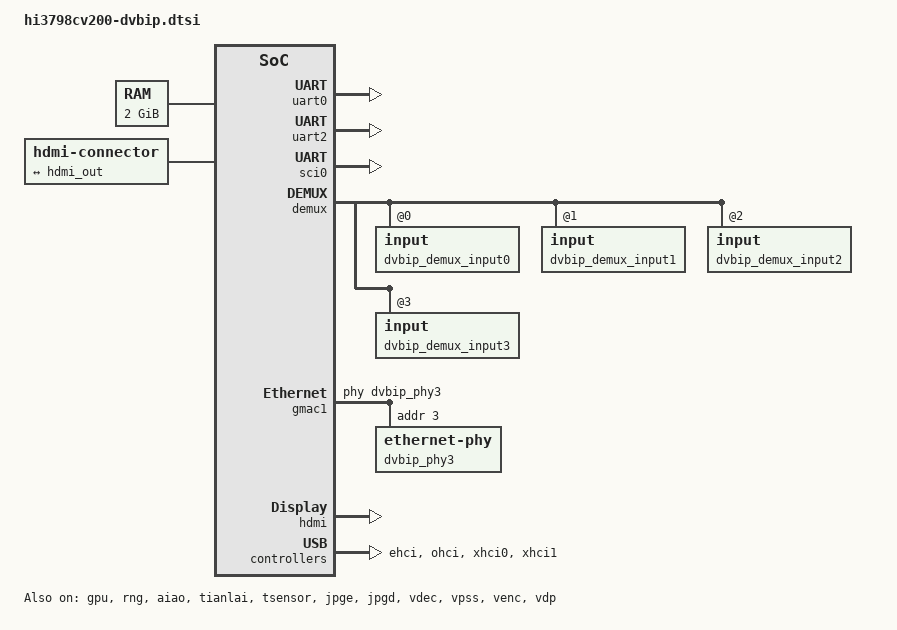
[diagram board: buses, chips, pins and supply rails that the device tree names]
// SPDX-License-Identifier: GPL-2.0-only
/*
 * Device Tree Source for HiSilicon Hi3798CV200 DVB-IP common platform.
 */

#include <dt-bindings/gpio/gpio.h>
#include <dt-bindings/pinctrl/hisi.h>
#include <dt-bindings/thermal/thermal.h>
#include "hi3798cv200.dtsi"

/* value, enable bits, disable bits, mask */
#define PINCTRL_PULLDOWN(value, enable, disable, mask) \
	(value << 13) (enable << 13) (disable << 13) (mask << 13)
#define PINCTRL_PULLUP(value, enable, disable, mask) \
	(value << 12) (enable << 12) (disable << 12) (mask << 12)
#define PINCTRL_SLEW_RATE(value, mask)	  (value << 8) (mask << 8)
#define PINCTRL_DRV_STRENGTH(value, mask) (value << 4) (mask << 4)

/ {
	/* CPU lifecycle is supplied by the resident CVPM EL3 monitor. */
	psci {
		compatible = "arm,psci-1.0", "arm,psci-0.2";
		method = "smc";
	};

	standby-controller {
		compatible = "hisilicon,hi3798cv200-pm";
		system-power-controller;
		/* Timed wake remains available without an invented IR key. */
		hisilicon,wakeup-timeout-sec = <30>;
	};

	aliases {
		mmc0 = &emmc;
		serial0 = &uart0;
		serial2 = &uart2;
	};

	memory@0 {
		device_type = "memory";
		reg = <0x0 0x0 0x0 0x80000000>;
	};


	hdmi-connector {
		compatible = "hdmi-connector";
		type = "a";

		port {
			hdmi_connector_in: endpoint {
				remote-endpoint = <&hdmi_out>;
			};
		};
	};

	reserved-memory {
		#address-cells = <2>;
		#size-cells = <2>;
		ranges;

		smp_firmware: smp-firmware@11000000 {
			reg = <0x0 0x11000000 0x0 0x00010000>;
			no-map;
		};

		linux_cma: linux,cma {
			compatible = "shared-dma-pool";
			reusable;
			/*
			 * Shared 192 MiB display/eMMC DMA pool in the SoC's low
			 * 1 GiB aperture. Decoder capture uses a separate CMA area
			 * so UHD frame queues cannot exhaust this pool.
			 */
			size = <0x0 0x0c000000>;
			alignment = <0x0 0x00800000>;
			alloc-ranges = <0x0 0x30000000 0x0 0x10000000>;
			linux,cma-default;
		};

		capture_cma: decoder-capture@12000000 {
			compatible = "shared-dma-pool";
			reg = <0x0 0x12000000 0x0 0x0a000000>;
			reusable;
		};

		/*
		 * Decoder reconstruction/message pool: non-reusable memory
		 * below the SoC's 1 GiB DMA limit. Keep it separate from the
		 * capture CMA area and shared display/eMMC allocations.
		 */
		vdec_pool: vdec-pool@20000000 {
			compatible = "shared-dma-pool";
			/* 240 MiB for reconstruction surfaces and decoder messages. */
			reg = <0x0 0x20000000 0x0 0x0f000000>;
			/* Avoid linear-map aliases for the dedicated DMA pool. */
			no-map;
		};
		/*
		 * Dedicated H.264 encoder DMA pool.  Keep V4L2 M2M capture
		 * buffers out of the shared display/eMMC CMA area: a 4K decoder
		 * plus a 1080i DEI/VENC session can leave free CMA pages without
		 * leaving a sufficiently large contiguous encoder buffer.
		 */
		venc_pool: venc-pool@3c000000 {
			compatible = "shared-dma-pool";
			reg = <0x0 0x3c000000 0x0 0x04000000>;
			no-map;
		};
	};

	/* Shared CV200 policy: IP1002 HPM targets, with the BSP OPP7 extension. */
	hi3798cv200_cpu_opp_table: opp-table-cpu {
		compatible = "operating-points-v2";
		opp-shared;

		opp-400000000 {
			opp-hz = /bits/ 64 <400000000>;
			opp-microvolt = <1000000 840000 1000000>;
			clock-latency-ns = <110000000>;
		};
		opp-600000000 {
			opp-hz = /bits/ 64 <600000000>;
			opp-microvolt = <1000000 840000 1000000>;
			clock-latency-ns = <110000000>;
		};
		opp-800000000 {
			opp-hz = /bits/ 64 <800000000>;
			/* Shared policy retains the BSP floor, not a board-specific undervolt. */
			opp-microvolt = <1000000 840000 1000000>;
			clock-latency-ns = <110000000>;
		};
		opp-1200000000 {
			opp-hz = /bits/ 64 <1200000000>;
			opp-microvolt = <1050000 900000 1050000>;
			clock-latency-ns = <110000000>;
		};
		opp-1600000000 {
			opp-hz = /bits/ 64 <1600000000>;
			opp-microvolt = <1150000 1020000 1150000>;
			clock-latency-ns = <110000000>;
		};
	};

	/*
	 * The CV200 BSP exposes the Mali-T720 at six discrete clock points.
	 * The default voltage is the conservative SS bin; the driver selects
	 * FF, TT, or SS properties from SYSCTRL SVB bits before registering OPPs.
	 * OPP transitions raise voltage before frequency and lower it afterward.
	 */
	hi3798cv200_gpu_opp_table: opp-table-gpu {
		compatible = "operating-points-v2";

		opp-200000000 {
			opp-hz = /bits/ 64 <200000000>;
			opp-microvolt = <900000>;
			opp-microvolt-ff = <850000>;
			opp-microvolt-tt = <880000>;
			opp-microvolt-ss = <900000>;
		};

		opp-300000000 {
			opp-hz = /bits/ 64 <300000000>;
			opp-microvolt = <900000>;
			opp-microvolt-ff = <850000>;
			opp-microvolt-tt = <880000>;
			opp-microvolt-ss = <900000>;
		};

		opp-400000000 {
			opp-hz = /bits/ 64 <400000000>;
			opp-microvolt = <900000>;
			opp-microvolt-ff = <850000>;
			opp-microvolt-tt = <880000>;
			opp-microvolt-ss = <900000>;
		};

		opp-500000000 {
			opp-hz = /bits/ 64 <500000000>;
			opp-microvolt = <900000>;
			opp-microvolt-ff = <850000>;
			opp-microvolt-tt = <880000>;
			opp-microvolt-ss = <900000>;
		};

		opp-600000000 {
			opp-hz = /bits/ 64 <600000000>;
			opp-microvolt = <930000>;
			opp-microvolt-ff = <880000>;
			opp-microvolt-tt = <920000>;
			opp-microvolt-ss = <930000>;
		};

		opp-675000000 {
			opp-hz = /bits/ 64 <675000000>;
			opp-microvolt = <1000000>;
			opp-microvolt-ff = <920000>;
			opp-microvolt-tt = <980000>;
			opp-microvolt-ss = <1000000>;
		};
	};

	dvbip_sound: sound {
		compatible = "simple-audio-card";
		simple-audio-card,name = "DVBIP-CV200";
		#address-cells = <1>;
		#size-cells = <0>;
		simple-audio-card,widgets = "Line", "Line Out";
		simple-audio-card,routing =
			"Line Out", "LOUT",
			"Line Out", "ROUT";

		/* Both links share one AIAO DMA engine and are mutually exclusive. */
		simple-audio-card,dai-link@0 {
			reg = <0>;
			format = "i2s";
			bitclock-master = <&sound_cpu>;
			frame-master = <&sound_cpu>;
			sound_cpu: cpu {
				sound-dai = <&aiao 0>;
			};
			codec {
				sound-dai = <&tianlai>;
			};
		};

		simple-audio-card,dai-link@1 {
			reg = <1>;
			format = "i2s";
			bitclock-master = <&hdmi_sound_cpu>;
			frame-master = <&hdmi_sound_cpu>;
			hdmi_sound_cpu: cpu {
				sound-dai = <&aiao 1>;
			};
			codec {
				sound-dai = <&hdmi>;
			};
		};
	};

	thermal-zones {
		soc-thermal {
			polling-delay = <1000>;
			polling-delay-passive = <100>;
			sustainable-power = <2500>;
			thermal-sensors = <&tsensor 0>;

			trips {
				soc_passive: soc-passive {
					temperature = <95000>;
					hysteresis = <5000>;
					type = "passive";
				};

				gpu_target: gpu-target {
					temperature = <105000>;
					hysteresis = <5000>;
					type = "passive";
				};

				soc_critical: soc-critical {
					temperature = <120000>;
					hysteresis = <5000>;
					type = "critical";
				};

				cv200_cpu_passive: cpu-passive {
					temperature = <80000>;
					hysteresis = <5000>;
					type = "passive";
				};
			};

			dvbip_cooling_maps: cooling-maps {
				map-cpu {
					trip = <&cv200_cpu_passive>;
					cooling-device = <&cpu0 THERMAL_NO_LIMIT
							       THERMAL_NO_LIMIT>;
				};
				map-gpu {
					trip = <&gpu_target>;
					cooling-device = <&gpu THERMAL_NO_LIMIT
							       THERMAL_NO_LIMIT>;
				};
			};
		};
	};
};

&{/cpus/cpu@0} {
	enable-method = "psci";
	/delete-property/ cpu-release-addr;
	#cooling-cells = <2>;
	cpu-supply = <&vdd_cpu>;
	operating-points-v2 = <&hi3798cv200_cpu_opp_table>;
};

&{/cpus/cpu@1} {
	enable-method = "psci";
	/delete-property/ cpu-release-addr;
	cpu-supply = <&vdd_cpu>;
	operating-points-v2 = <&hi3798cv200_cpu_opp_table>;
};

&{/cpus/cpu@2} {
	enable-method = "psci";
	/delete-property/ cpu-release-addr;
	cpu-supply = <&vdd_cpu>;
	operating-points-v2 = <&hi3798cv200_cpu_opp_table>;
};

&{/cpus/cpu@3} {
	enable-method = "psci";
	/delete-property/ cpu-release-addr;
	cpu-supply = <&vdd_cpu>;
	operating-points-v2 = <&hi3798cv200_cpu_opp_table>;
};

&{/timer} {
	arm,no-tick-in-suspend;
};

&uart0 {
	status = "okay";
};

&uart2 {
	status = "okay";
};

&sci0 {
	hisilicon,vcc-active-low;
	pinctrl-names = "default";
	pinctrl-0 = <&sci0_pins>;
	status = "okay";
};

&pmx0 {
	sci0_pins: sci0-pins {
		pinctrl-single,pins = <
			0x054 MUX_M1 /* SIM0_DET */
			0x058 MUX_M1 /* SIM0_DATA */
			0x05c MUX_M1 /* SIM0_RST */
			0x060 MUX_M1 /* SIM0_CLK */
			0x064 MUX_M1 /* SIM0_PWREN */
		>;
	};

};

&demux {
	assigned-clocks = <&crg HISTB_TSI_SHARED_CLK>;
	assigned-clock-parents = <&crg HISTB_TSI2_CLK>;
	status = "okay";

	dvbip_demux_input0: input@0 {
		reg = <0>;
		hisilicon,ts-mode = "serial-nosync";
		hisilicon,clock-inverted;
		hisilicon,serial-data-line = <0>;
	};

	dvbip_demux_input1: input@1 {
		reg = <1>;
		hisilicon,ts-mode = "serial-nosync";
		hisilicon,clock-inverted;
		hisilicon,serial-data-line = <0>;
	};

	dvbip_demux_input2: input@2 {
		reg = <2>;
		hisilicon,ts-mode = "serial-nosync";
		hisilicon,clock-inverted;
		hisilicon,serial-data-line = <0>;
	};

	dvbip_demux_input3: input@3 {
		reg = <3>;
		hisilicon,ts-mode = "serial-nosync";
		hisilicon,clock-inverted;
		hisilicon,serial-data-line = <0>;
	};
};

&gmac1 {
	#address-cells = <1>;
	#size-cells = <0>;
	phy-handle = <&dvbip_phy3>;
	status = "okay";

	dvbip_phy3: ethernet-phy@3 {
		reg = <3>;
	};
};

&gpu {
	operating-points-v2 = <&hi3798cv200_gpu_opp_table>;
	status = "okay";
};

&hdmi {
	status = "okay";
	/* Poll the R002 TX status to avoid a stuck CV200 HPD interrupt. */
	hisilicon,hpd-poll;
};

&hdmi_out {
	remote-endpoint = <&hdmi_connector_in>;
};

&rng {
	status = "okay";
};

&system_timer {
	/* ARM64 uses the architected timer; the vendor SPI events lose ticks. */
	status = "disabled";
};

&soc {
	cpu-avs@8a23078 {
		compatible = "hisilicon,hi3798cv200-avs";
		reg = <0x8a23078 0x10>, <0x8a23368 0x4>;
		reg-names = "hpm", "control";
		hisilicon,hpm-targets = <400000000 0xc9 0>,
				 <600000000 0xc9 0>,
				 <800000000 0xe5 1>,
				 <1200000000 0x110 1>,
				 <1600000000 0x16a 1>;
	};
};

&vdd_cpu {
	status = "okay";
};

&vdd_gpu {
	status = "okay";
};

&gpio0 { status = "okay"; };
&gpio1 { status = "okay"; };
&gpio2 { status = "okay"; };
&gpio3 { status = "okay"; };
&gpio4 { status = "okay"; };
&gpio5 { status = "okay"; };
&gpio6 { status = "okay"; };
&gpio7 { status = "okay"; };
&gpio8 { status = "okay"; };
&gpio9 { status = "okay"; };
&gpio10 { status = "okay"; };
&gpio11 { status = "okay"; };
&gpio12 { status = "okay"; };

&aiao {
	status = "okay";
};

&tianlai {
	status = "okay";
};

&tsensor {
	status = "okay";
};

&jpge {
	status = "okay";
};

&jpgd {
	status = "okay";
};

&vdec {
	memory-region = <&vdec_pool>, <&capture_cma>;
	memory-region-names = "reconstruction", "capture";
	status = "okay";
};

&vpss {
	status = "okay";
};

&venc {
	memory-region = <&venc_pool>;
	status = "okay";
};

&vdp {
	clocks = <&crg HISTB_VO_BUS_CLK>,
		 <&crg HISTB_VO_HD_CLK>,
		 <&crg HISTB_VDP_CFG_CLK>,
		 <&crg HISTB_VDP_HD_CLK>,
		 <&crg HISTB_VDP_V0_CLK>,
		 <&crg HISTB_VDP_G0_CLK>,
		 <&crg HISTB_VO_BP_CLK>,
		 <&crg HISTB_VDP_G1_CLK>,
		 <&crg HISTB_VDP_G3_CLK>,
		 <&crg HISTB_VDP_V1_CLK>;
	clock-names = "bus", "hd", "config", "core", "video",
		      "graphics", "bp", "graphics1", "graphics3", "video1";
	status = "okay";
};

&ehci { status = "okay"; };
&ohci { status = "okay"; };
&xhci0 { status = "okay"; };
&xhci1 { status = "okay"; };
